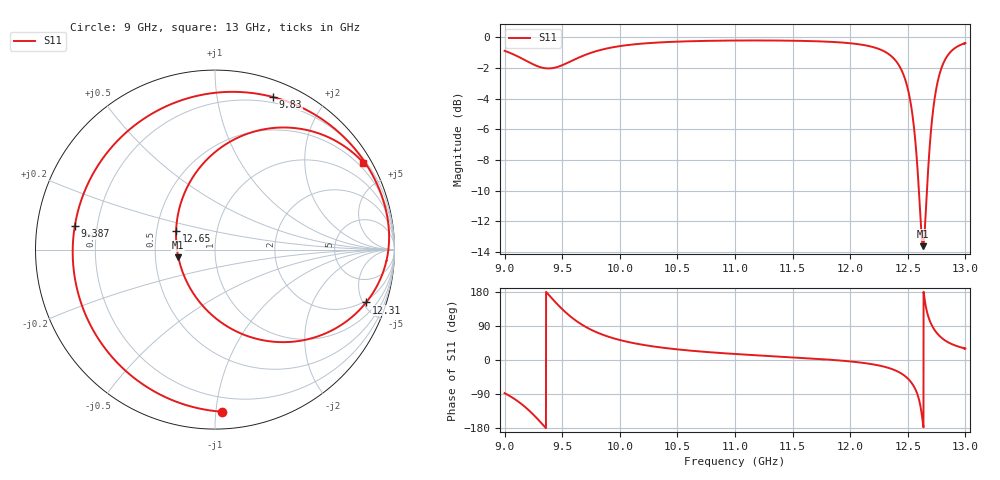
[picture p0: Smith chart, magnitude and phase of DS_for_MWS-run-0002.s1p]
! TOUCHSTONE file generated by CST DESIGN STUDIO
! Date and time: Tue Feb  4 18:43:47 2025
! Project name: C:\Work\MatlabApps\UnitCellOptimizationMatlab\CST\unitcell.cst
! Tree item: Tasks\Sweep1\SPara1\S-Parameters
! Header version: 2024
! Port assignment regex: !\s*Touchstone port\s*([0-9]+)\s*=\s*(CST MWS port|CST DES external port|CST DES block port)\s*(.+)\s* \(\"(.*)\"\)(\s*mode\s*([0-9]+))?.*
! Touchstone port assignment:
! Touchstone port 1 = CST DES external port 1 ("")
# GHz S MA R 50
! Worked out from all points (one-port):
!   4001 points, 9 GHz to 13 GHz, reference 50 ohm
!   lowest |S11| = -13.6 dB at 12.63 GHz (marker M1), VSWR 1.53, Z = 32.9 - j2.95 ohm
!   |S11| at or under -10 dB: 12.6 GHz to 12.67 GHz (69.67 MHz wide, 0.552 % of centre)
!   S11 on the Smith chart (normalised r, x): 9 GHz: 0.11, -1.04; 9.387 GHz: 0.12, +0.08; 9.83 GHz: 0.15, +1.44; 12.31 GHz: 1.83, -5.27; 12.65 GHz: 0.63, +0.14; 13 GHz: 0.31, +3.66
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9  0.9042 -87.4
9.102  0.8714 -106.1
9.19  0.8381 -127.1
9.297  0.8026 -159.1
9.387  0.7922 170.5
9.5  0.8117 134.3
9.568  0.8336 115.7
9.641  0.8585 99.1
9.83  0.9094 69.2
10  0.9366 52.7
10.216  0.9559 39.3
10.5  0.9687 28.0
11  0.9768 15.9
11.5  0.9754 7.0
12  0.9573 -3.7
12.315  0.892 -19.3
12.42  0.8146 -31.5
12.5  0.6799 -48.8
12.538  0.5677 -62.6
12.57  0.4393 -80.0
12.599  0.3042 -106.5
12.632  0.2087 -168.1
12.649  0.241 154.1
12.705  0.5141 93.8
12.76  0.7191 68.4
12.809  0.8242 54.7
12.862  0.8889 44.8
13  0.9583 30.3
